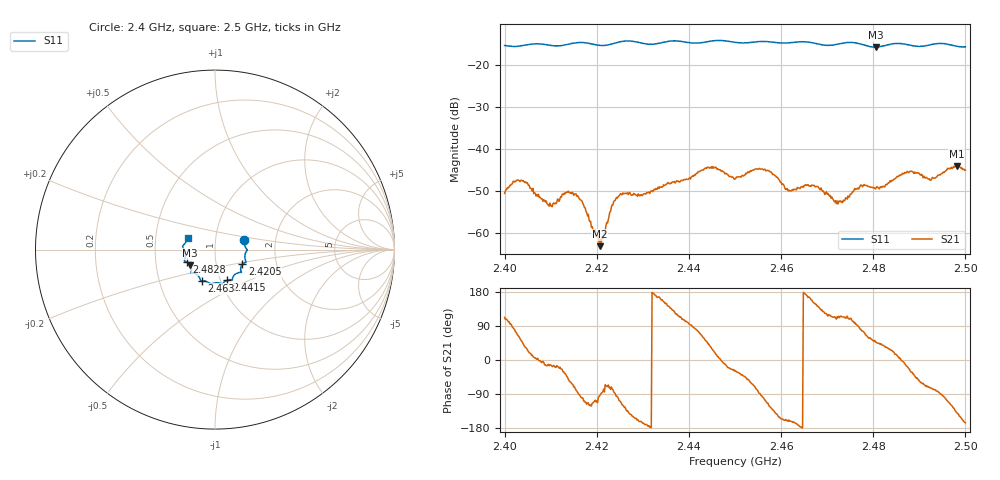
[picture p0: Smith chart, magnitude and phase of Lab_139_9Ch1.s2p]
# Hz S RI R 50
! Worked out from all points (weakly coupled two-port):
!   601 points, 2.4 GHz to 2.5 GHz, reference 50 ohm
!   highest |S21| = -44.03 dB at 2.4982 GHz (marker M1); lowest = -63.2 dB at 2.4207 GHz (marker M2)
!   lowest |S11| = -15.7 dB at 2.4805 GHz (marker M3), VSWR 1.39, Z = 37.3 - j6.68 ohm
!   |S11| at or under -10 dB: start of sweep to end of sweep
!   S12 and S22 are empty: the file has one direction only
!   S11 on the Smith chart (normalised r, x): 2.4 GHz: 1.38, +0.15; 2.4205 GHz: 1.34, -0.23; 2.4415 GHz: 1.07, -0.38; 2.463 GHz: 0.82, -0.29; 2.4828 GHz: 0.72, -0.10; 2.5 GHz: 0.73, +0.10
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2.4e9  0.1638 0.0517  -0.00113 0.00273  0 0  0 0
2.4035e9  0.1693 0.0141  0.00256 0.00336  0 0  0 0
2.409833e9  0.1721 -0.0143  0.00221 -0.000491  0 0  0 0
2.4135e9  0.168 -0.0529  0.00223 -0.00212  0 0  0 0
2.416667e9  0.1732 -0.0699  -0.000424 -0.0024  0 0  0 0
2.4205e9  0.1521 -0.0819  -8.94e-05 -0.000783  0 0  0 0
2.420667e9  0.1509 -0.0831  -4.42e-05 -0.000692  0 0  0 0
2.424667e9  0.1452 -0.1194  -0.000509 -0.00268  0 0  0 0
2.433333e9  0.1004 -0.1514  -0.00341 0.00082  0 0  0 0
2.4415e9  0.0657 -0.1708  0.000755 0.00498  0 0  0 0
2.445333e9  0.0423 -0.191  0.00541 0.00244  0 0  0 0
2.45e9  0.0242 -0.1861  0.00379 -0.00217  0 0  0 0
2.456e9  -0.0211 -0.1907  -0.000808 -0.0057  0 0  0 0
2.463e9  -0.0725 -0.1739  -0.00322 -0.000788  0 0  0 0
2.466667e9  -0.082 -0.1667  -0.00345 0.00138  0 0  0 0
2.472167e9  -0.1198 -0.1311  -0.000989 0.00219  0 0  0 0
2.477667e9  -0.1313 -0.1175  0.00084 0.00344  0 0  0 0
2.4805e9  -0.139 -0.0872  0.00228 0.00245  0 0  0 0
2.482833e9  -0.1585 -0.0699  0.00314 0.00211  0 0  0 0
2.483333e9  -0.1624 -0.0679  0.00342 0.00191  0 0  0 0
2.498167e9  -0.163 0.0407  -0.00476 -0.0041  0 0  0 0
2.5e9  -0.1525 0.0644  -0.00544 -0.00137  0 0  0 0
